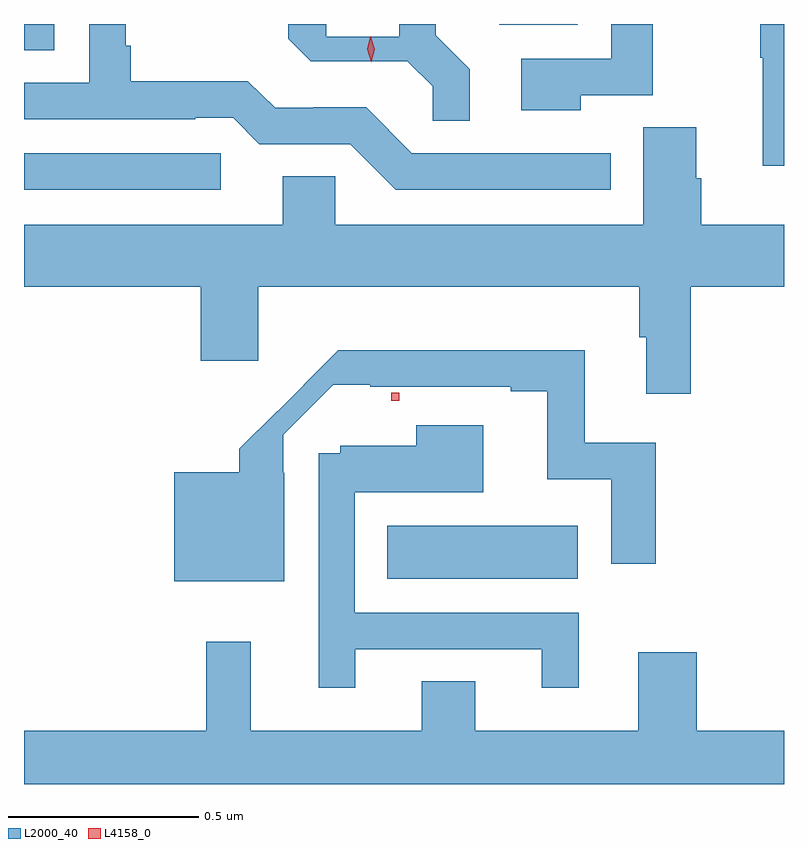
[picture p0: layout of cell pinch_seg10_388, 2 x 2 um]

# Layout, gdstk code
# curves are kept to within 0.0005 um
import gdstk
lib = gdstk.Library(unit=1e-6, precision=1e-09)
def R(c, l, rs):  # rectangles x0, y0, x1, y1
    for r in rs: c.add(gdstk.rectangle(r[:2], r[2:], *l))
def P(c, l, *ps):  # polygons
    for p in ps: c.add(gdstk.Polygon(p, *l))
L2000_40 = (2000, 40)
L4158_0 = (4158, 0)

pinch_seg10_388 = lib.new_cell('pinch_seg10_388')
R(pinch_seg10_388, L2000_40, [(401.458,1254.26,401.959,1254.4), (400.502,1255.284,401.02,1255.38), (400.502,1255.651,400.581,1255.72), (401.753,1255.718,401.959,1255.72)])
P(pinch_seg10_388, L2000_40, [(402.046,1255.38),(401.523,1255.38),(401.402,1255.501),(401.263,1255.501),(401.263,1255.499),(401.163,1255.499),(401.091,1255.57),(400.783,1255.57),(400.783,1255.663),(400.77,1255.663),(400.77,1255.72),(400.674,1255.72),(400.674,1255.566),(400.502,1255.566),(400.502,1255.47),(400.952,1255.47),(400.952,1255.473),(401.052,1255.473),(401.121,1255.404),(401.36,1255.404),(401.48,1255.284),(402.046,1255.284)],
  [(402.502,1255.72),(402.439,1255.72),(402.439,1255.631),(402.446,1255.631),(402.446,1255.347),(402.502,1255.347)],
  [(401.967,1255.533),(402.157,1255.533),(402.157,1255.72),(402.048,1255.72),(402.048,1255.629),(401.811,1255.629),(401.811,1255.493),(401.967,1255.493)],
  [(401.675,1255.601),(401.586,1255.69),(401.586,1255.72),(401.489,1255.72),(401.489,1255.686),(401.298,1255.686),(401.298,1255.72),(401.198,1255.72),(401.198,1255.681),(401.257,1255.622),(401.511,1255.622),(401.577,1255.556),(401.577,1255.465),(401.675,1255.465)],
  [(400.502,1255.028),(400.967,1255.028),(400.967,1254.834),(401.119,1254.834),(401.119,1255.028),(402.121,1255.028),(402.121,1254.896),(402.14,1254.896),(402.14,1254.747),(402.257,1254.747),(402.257,1255.028),(402.502,1255.028),(402.502,1255.192),(402.284,1255.192),(402.284,1255.314),(402.271,1255.314),(402.271,1255.448),(402.131,1255.448),(402.131,1255.192),(401.321,1255.192),(401.321,1255.319),(401.183,1255.319),(401.183,1255.192),(400.502,1255.192)],
  [(401.187,1254.539),(401.184,1254.539),(401.184,1254.639),(401.316,1254.771),(401.413,1254.771),(401.413,1254.765),(401.783,1254.765),(401.783,1254.753),(401.879,1254.753),(401.879,1254.522),(402.048,1254.522),(402.048,1254.3),(402.164,1254.3),(402.164,1254.618),(401.977,1254.618),(401.977,1254.862),(401.329,1254.862),(401.238,1254.771),(401.239,1254.771),(401.069,1254.602),(401.069,1254.54),(400.898,1254.54),(400.898,1254.254),(401.187,1254.254)],
  [(401.374,1254.075),(401.864,1254.075),(401.864,1253.973),(401.962,1253.973),(401.962,1254.171),(401.373,1254.171),(401.373,1254.488),(401.71,1254.488),(401.71,1254.664),(401.534,1254.664),(401.534,1254.61),(401.334,1254.61),(401.334,1254.591),(401.277,1254.591),(401.277,1253.973),(401.374,1253.973)],
  [(402.502,1253.86),(402.272,1253.86),(402.272,1254.067),(402.119,1254.067),(402.119,1253.86),(401.689,1253.86),(401.689,1253.99),(401.549,1253.99),(401.549,1253.86),(401.099,1253.86),(401.099,1254.094),(400.981,1254.094),(400.981,1253.86),(400.502,1253.86),(400.502,1253.72),(402.502,1253.72)])
R(pinch_seg10_388, L4158_0, [(401.469,1254.729,401.489,1254.749)])
P(pinch_seg10_388, L4158_0, [(401.416,1255.619),(401.416,1255.62),(401.405,1255.653),(401.413,1255.687),(401.414,1255.688),(401.414,1255.687),(401.425,1255.654),(401.416,1255.62)])

lib.write_gds('pinch_seg10_388.gds')
